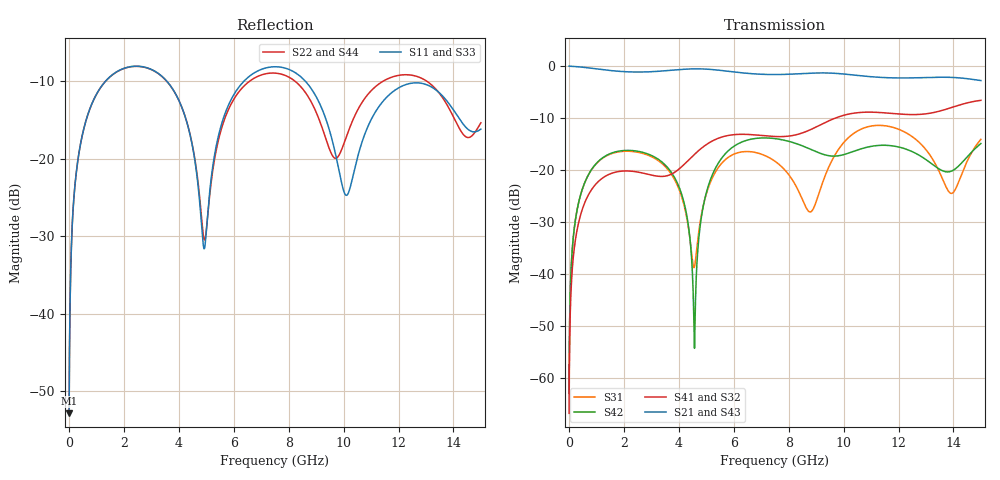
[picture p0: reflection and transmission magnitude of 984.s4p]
! Created with skrf 1.8.0 (http://scikit-rf.org).
# GHz S RI R 50.0
!freq ReS11 ImS11 ReS12 ImS12 ReS13 ImS13
! ReS14 ImS14
! ReS21 ImS21 ReS22 ImS22 ReS23 ImS23
! ReS24 ImS24
! ReS31 ImS31 ReS32 ImS32 ReS33 ImS33
! ReS34 ImS34
! ReS41 ImS41 ReS42 ImS42 ReS43 ImS43
! ReS44 ImS44
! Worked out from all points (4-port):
!   2499 points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, 5 MHz to 15 GHz, reference 50 ohm
!   strongest paths, dB at 5 MHz, 3.476 GHz, 7.19 GHz, 11.1 GHz, 15 GHz:
!     S21: 0.0, -0.9, -1.6, -2.1, -2.8
!     S43: 0.0, -0.9, -1.6, -2.1, -2.8
!     S41: -66.8, -21.2, -13.4, -8.9, -6.6
!     S32: -66.8, -21.3, -13.5, -8.9, -6.6
!     S42: -62.9, -18.9, -13.8, -15.4, -14.9
!     S31: -62.9, -19.2, -17.4, -11.5, -14.1
!   lowest |S11| = -52.8 dB at 5 MHz (marker M1), VSWR 1.00, Z = 50.2 + j0.139 ohm
!   |S11| at or under -10 dB: start of sweep to 1.332 GHz; 3.562 GHz to 6.374 GHz (2.812 GHz wide, 56.6 % of centre); 8.605 GHz to end of sweep
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0.005  0.00182 0.00138  0.9981 -0.00354  9.14e-05 0.000708  -8.89e-05 -0.000446
       0.9981 -0.00354  0.00182 0.00138  -8.89e-05 -0.000446  9.15e-05 0.000708
       9.14e-05 0.000708  -8.89e-05 -0.000446  0.00182 0.00138  0.9981 -0.00354
       -8.89e-05 -0.000446  9.15e-05 0.000708  0.9981 -0.00354  0.00182 0.00138
0.3626511  0.0361 0.1025  0.9501 -0.2519  0.0168 0.0471  -0.0142 -0.0288
           0.9501 -0.2519  0.036 0.1025  -0.0141 -0.0288  0.0174 0.0469
           0.0168 0.0471  -0.0141 -0.0288  0.0361 0.1025  0.9501 -0.2519
           -0.0142 -0.0288  0.0174 0.0469  0.9501 -0.2519  0.036 0.1025
1.77574  0.3425 0.131  0.3667 -0.8139  0.1445 0.0364  -0.0934 0.0237
         0.3667 -0.8139  0.3408 0.1328  -0.0932 0.0233  0.1488 0.0269
         0.1445 0.0364  -0.0932 0.0233  0.3427 0.1308  0.3666 -0.8139
         -0.0934 0.0237  0.1488 0.0269  0.3666 -0.8139  0.3407 0.133
4.570654  0.0456 -0.0901  -0.8957 -0.287  -0.0117 0.000295  -0.0376 0.1364
          -0.8957 -0.287  0.0502 -0.0899  -0.0407 0.1355  -0.00189 0.000344
          -0.0117 0.000295  -0.0407 0.1355  0.0448 -0.0903  -0.8957 -0.2868
          -0.0376 0.1364  -0.00189 0.000344  -0.8957 -0.2868  0.051 -0.0896
5.733639  0.1342 0.1566  -0.8 0.4025  0.0772 0.1025  0.1249 0.1728
          -0.8 0.4025  0.126 0.1467  0.1209 0.175  0.1277 0.0729
          0.0772 0.1025  0.1209 0.175  0.1344 0.1578  -0.7997 0.4028
          0.1249 0.1728  0.1277 0.0729  -0.7997 0.4028  0.1262 0.1465
9.941642  0.0552 -0.0401  0.8369 0.0928  0.0891 0.1509  0.0259 -0.3313
          0.8369 0.0928  0.1083 0.0417  0.0395 -0.3298  -0.0955 0.1013
          0.0891 0.1509  0.0395 -0.3298  0.0557 -0.0425  0.8366 0.0938
          0.0259 -0.3313  -0.0955 0.1013  0.8366 0.0938  0.1118 0.0357
15  0.1551 0.00463  -0.719 -0.0972  0.0318 0.1946  -0.0294 0.4672
    -0.719 -0.0972  0.1655 0.0409  -0.0569 0.4646  -0.0213 0.1784
    0.0318 0.1946  -0.0569 0.4646  0.1546 0.0104  -0.7192 -0.0956
    -0.0294 0.4672  -0.0213 0.1784  -0.7192 -0.0956  0.168 0.0336
